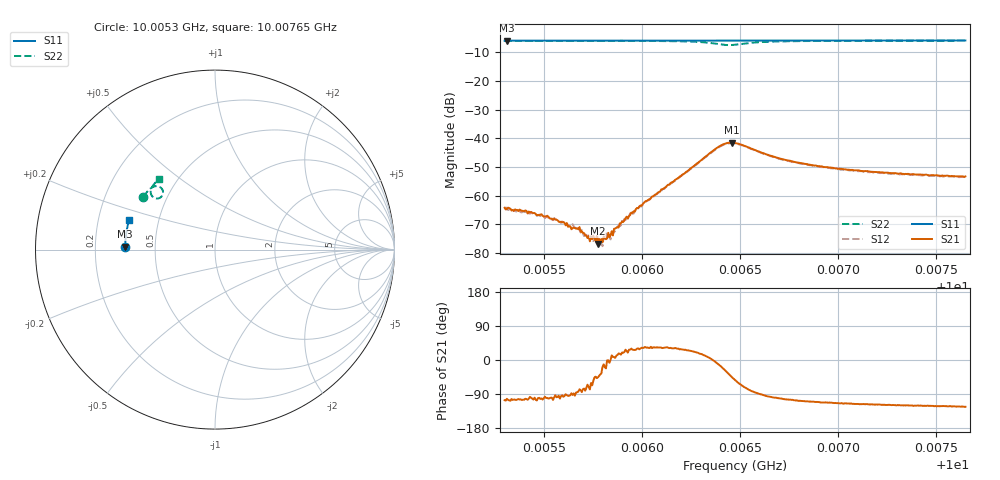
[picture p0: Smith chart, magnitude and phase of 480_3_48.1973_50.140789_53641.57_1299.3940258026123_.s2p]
#  HZ  S  RI  R  50.00
! Rohde & Schwarz Vector Network Analyzer
! Rohde-Schwarz,ZNB20-2Port,1311601062101988,3.16
! Created: UTC 3/20/2024, 11:57:38 AM
! freq[Hz]  re:S11  im:S11  re:S21  im:S21  re:S12  im:S12  re:S22  im:S22
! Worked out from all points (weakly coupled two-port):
!   401 points, 10.0053 GHz to 10.00765 GHz, reference 50 ohm
!   highest |S21| = -41.51 dB at 10.00646 GHz (marker M1); lowest = -76.7 dB at 10.00577 GHz (marker M2)
!   lowest |S11| = -6.0 dB at 10.00531 GHz (marker M3), VSWR 3.00, Z = 16.6 + j0.76 ohm
!   |S11| at or under -10 dB: nowhere
!   |S22| runs from -7.5 to -6.0 dB; largest |S21 - S12| = 0.00051
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1.0005297e10  -0.5004 0.0163  -0.000171 -0.000592  -0.000108 -0.000583  -0.3985 0.2946
1.0005309e10  -0.5002 0.0171  -0.000126 -0.000573  -0.000113 -0.000604  -0.3982 0.2953
1.0005433e10  -0.5003 0.0252  -8.94e-05 -0.000513  -8.16e-05 -0.000515  -0.393 0.3027
1.0005562e10  -0.5002 0.0336  -5.49e-05 -0.000379  -1.38e-05 -0.000369  -0.3874 0.3104
1.0005651e10  -0.4998 0.0393  8.97e-06 -0.000278  3.69e-05 -0.00029  -0.3835 0.3157
1.0005668e10  -0.4998 0.0404  2.35e-05 -0.000271  5.15e-05 -0.000257  -0.3823 0.3167
1.0005692e10  -0.4997 0.042  2.26e-05 -0.00024  5.43e-05 -0.000249  -0.3811 0.3183
1.0005721e10  -0.4995 0.044  7.69e-05 -0.000166  8.76e-05 -0.000167  -0.3797 0.32
1.0005774e10  -0.4994 0.0474  0.000102 -0.000105  0.000145 -0.000122  -0.377 0.3233
1.0005798e10  -0.4993 0.0489  0.000147 -4.86e-05  0.000121 -5.4e-05  -0.3757 0.3249
1.0005815e10  -0.4992 0.05  0.000162 -6.58e-05  0.000213 -5.74e-05  -0.3748 0.326
1.0005845e10  -0.4991 0.0519  0.000235 5.13e-05  0.000228 7.96e-06  -0.3731 0.3278
1.0005939e10  -0.4985 0.0581  0.000412 0.000213  0.000433 0.00024  -0.3669 0.334
1.0006086e10  -0.4976 0.0675  0.000975 0.00063  0.000925 0.00067  -0.3547 0.3441
1.000638e10  -0.4947 0.0864  0.0067 -0.000892  0.00655 -0.000494  -0.292 0.3314
1.0006421e10  -0.4942 0.0887  0.00719 -0.00353  0.00723 -0.00309  -0.2913 0.307
1.0006457e10  -0.494 0.0908  0.00602 -0.00587  0.00622 -0.00542  -0.306 0.289
1.0006474e10  -0.4939 0.0917  0.00498 -0.00661  0.00526 -0.00625  -0.3163 0.2852
1.0006692e10  -0.4921 0.1057  -0.000828 -0.00449  -0.000627 -0.00445  -0.3577 0.3285
1.0006869e10  -0.4901 0.117  -0.00116 -0.00321  -0.000996 -0.00318  -0.3498 0.3496
1.0007263e10  -0.4844 0.1418  -0.00118 -0.00219  -0.00108 -0.00219  -0.3292 0.3765
1.0007651e10  -0.4774 0.166  -0.0012 -0.00181  -0.00105 -0.00181  -0.3093 0.3961
